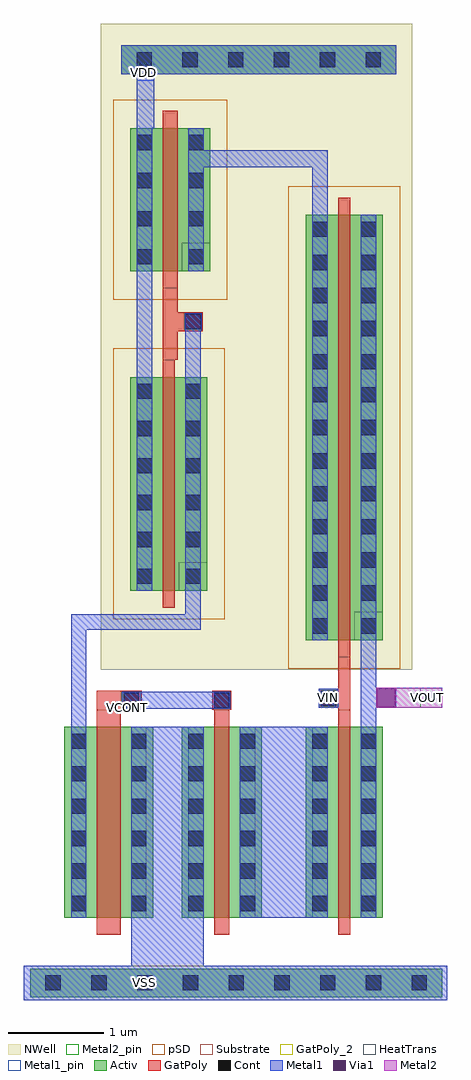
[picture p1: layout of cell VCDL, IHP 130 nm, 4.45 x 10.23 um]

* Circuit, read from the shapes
.subckt VCDL VCONT VDD VIN VOUT VSS
XM1 VSS VCONT n1 VSS sg13_lv_nmos w=2u l=0.25u
XM2 n2 VCONT VSS VSS sg13_lv_nmos w=2u l=0.16u
XM3 VOUT VIN n2 VSS sg13_lv_nmos w=2u l=0.13u
XM4 n1 n1 VDD VDD sg13_lv_pmos w=2.24u l=0.13u
XM5 n3 n1 VDD VDD sg13_lv_pmos w=1.5u l=0.16u
XM6 VOUT VIN n3 VDD sg13_lv_pmos w=4.46u l=0.13u
.ends

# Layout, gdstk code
import gdstk
lib = gdstk.Library(unit=1e-6, precision=1e-09)
def R(c, l, rs):  # rectangles x0, y0, x1, y1
    for r in rs: c.add(gdstk.rectangle(r[:2], r[2:], *l))
def A(c, l, x, y, w, h, nx, ny, dx, dy):  # array of equal rectangles
    R(c, l, [(x+i*dx, y+j*dy, x+i*dx+w, y+j*dy+h) for i in range(nx) for j in range(ny)])
def P(c, l, *ps):  # polygons
    for p in ps: c.add(gdstk.Polygon(p, *l))
Activ = (1, 0)
GatPoly = (5, 0)
GatPoly_2 = (5, 2)
Cont = (6, 0)
Metal1 = (8, 0)
Metal1_pin = (8, 2)
Metal2 = (10, 0)
Metal2_pin = (10, 2)
pSD = (14, 0)
Via1 = (19, 0)
NWell = (31, 0)
Substrate = (40, 0)
HeatTrans = (51, 0)

nmos = lib.new_cell('nmos')
R(nmos, Activ, [(0,0,0.3,0.3), (0,0,0.84,2), (0.54,0,0.84,0.3)])
R(nmos, GatPoly, [(0.34,-0.18,0.5,2.18)])
R(nmos, GatPoly_2, [(0.34,-0.18,0.5,2.18)])
A(nmos, Cont, 0.07, 0.07, 0.16, 0.16, 1, 6, 0, 0.34)
A(nmos, Cont, 0.61, 0.07, 0.16, 0.16, 1, 6, 0, 0.34)
R(nmos, Metal1, [(0.07,0,0.23,2), (0.61,0,0.77,2)])
R(nmos, Metal1_pin, [(0.07,0,0.23,2), (0.61,0,0.77,2)])
R(nmos, HeatTrans, [(0.34,-0.18,0.5,2.18)])
nmos.add(gdstk.Label('nmos', (0.42,1), layer=63, texttype=0))
nmos.add(gdstk.Label('nmos', (0.42,1), layer=51, texttype=0))

nmos_1 = lib.new_cell('nmos$1')
R(nmos_1, Activ, [(0,0,0.3,0.3), (0,0,0.93,2), (0.63,0,0.93,0.3)])
R(nmos_1, GatPoly, [(0.34,-0.18,0.59,2.18)])
R(nmos_1, GatPoly_2, [(0.34,-0.18,0.59,2.18)])
A(nmos_1, Cont, 0.07, 0.07, 0.16, 0.16, 1, 6, 0, 0.34)
A(nmos_1, Cont, 0.7, 0.07, 0.16, 0.16, 1, 6, 0, 0.34)
R(nmos_1, Metal1, [(0.07,0,0.23,2), (0.7,0,0.86,2)])
R(nmos_1, Metal1_pin, [(0.07,0,0.23,2), (0.7,0,0.86,2)])
R(nmos_1, HeatTrans, [(0.34,-0.18,0.59,2.18)])
nmos_1.add(gdstk.Label('nmos', (0.465,1), layer=63, texttype=0))
nmos_1.add(gdstk.Label('nmos', (0.465,1), layer=51, texttype=0))

pmos = lib.new_cell('pmos')
R(pmos, Activ, [(0,0,0.3,0.3), (0,0,0.81,2.24), (0.51,0,0.81,0.3)])
R(pmos, GatPoly, [(0.34,-0.18,0.47,2.42), (0.34,-0.18,0.47,2.42)])
A(pmos, Cont, 0.07, 1.23, 0.16, 0.16, 1, 3, 0, 0.39)
A(pmos, Cont, 0.58, 1.23, 0.16, 0.16, 1, 3, 0, 0.39)
R(pmos, Cont, [(0.07,0.07,0.23,0.23), (0.58,0.07,0.74,0.23), (0.07,0.455,0.23,0.615), (0.58,0.455,0.74,0.615), (0.07,0.845,0.23,1.005), (0.58,0.845,0.74,1.005)])
R(pmos, Metal1, [(0.07,0,0.23,2.24), (0.07,0,0.23,2.24), (0.58,0,0.74,2.24), (0.58,0,0.74,2.24)])
R(pmos, pSD, [(-0.18,-0.3,0.99,2.54)])
R(pmos, NWell, [(-0.31,-0.31,1.12,2.55)])
R(pmos, Substrate, [(0.51,0,0.81,0.3)])
R(pmos, HeatTrans, [(0.34,-0.18,0.47,2.42)])
pmos.add(gdstk.Label('pmos', (0.405,1.12), layer=63, texttype=0))
pmos.add(gdstk.Label('pmos', (0.405,1.12), layer=51, texttype=0))

pmos_1 = lib.new_cell('pmos$1')
R(pmos_1, Activ, [(0,0,0.3,0.3), (0,0,0.84,1.5), (0.54,0,0.84,0.3)])
R(pmos_1, GatPoly, [(0.34,-0.18,0.5,1.68), (0.34,-0.18,0.5,1.68)])
A(pmos_1, Cont, 0.07, 0.07, 0.16, 0.16, 1, 4, 0, 0.4)
A(pmos_1, Cont, 0.61, 0.07, 0.16, 0.16, 1, 4, 0, 0.4)
R(pmos_1, Metal1, [(0.07,0,0.23,1.5), (0.07,0,0.23,1.5), (0.61,0,0.77,1.5), (0.61,0,0.77,1.5)])
R(pmos_1, pSD, [(-0.18,-0.3,1.02,1.8)])
R(pmos_1, NWell, [(-0.31,-0.31,1.15,1.81)])
R(pmos_1, Substrate, [(0.54,0,0.84,0.3)])
R(pmos_1, HeatTrans, [(0.34,-0.18,0.5,1.68)])
pmos_1.add(gdstk.Label('pmos', (0.42,0.75), layer=63, texttype=0))
pmos_1.add(gdstk.Label('pmos', (0.42,0.75), layer=51, texttype=0))

pmos_2 = lib.new_cell('pmos$2')
R(pmos_2, Activ, [(0,0,0.3,0.3), (0,0,0.81,4.46), (0.51,0,0.81,0.3)])
R(pmos_2, GatPoly, [(0.34,-0.18,0.47,4.64), (0.34,-0.18,0.47,4.64)])
A(pmos_2, Cont, 0.07, 0.07, 0.16, 0.16, 1, 3, 0, 0.345)
A(pmos_2, Cont, 0.58, 0.07, 0.16, 0.16, 1, 3, 0, 0.345)
A(pmos_2, Cont, 0.07, 1.11, 0.16, 0.16, 1, 3, 0, 0.345)
A(pmos_2, Cont, 0.58, 1.11, 0.16, 0.16, 1, 3, 0, 0.345)
A(pmos_2, Cont, 0.07, 2.15, 0.16, 0.16, 1, 3, 0, 0.345)
A(pmos_2, Cont, 0.58, 2.15, 0.16, 0.16, 1, 3, 0, 0.345)
A(pmos_2, Cont, 0.07, 3.19, 0.16, 0.16, 1, 3, 0, 0.345)
A(pmos_2, Cont, 0.58, 3.19, 0.16, 0.16, 1, 3, 0, 0.345)
R(pmos_2, Cont, [(0.07,4.23,0.23,4.39), (0.58,4.23,0.74,4.39)])
R(pmos_2, Metal1, [(0.07,0,0.23,4.46), (0.07,0,0.23,4.46), (0.58,0,0.74,4.46), (0.58,0,0.74,4.46)])
R(pmos_2, pSD, [(-0.18,-0.3,0.99,4.76)])
R(pmos_2, NWell, [(-0.31,-0.31,1.12,4.77)])
R(pmos_2, Substrate, [(0.51,0,0.81,0.3)])
R(pmos_2, HeatTrans, [(0.34,-0.18,0.47,4.64)])
pmos_2.add(gdstk.Label('pmos', (0.405,2.23), layer=63, texttype=0))
pmos_2.add(gdstk.Label('pmos', (0.405,2.23), layer=51, texttype=0))

nmos_2 = lib.new_cell('nmos$2')
R(nmos_2, Activ, [(0,0,0.3,0.3), (0,0,0.81,2), (0.51,0,0.81,0.3)])
R(nmos_2, GatPoly, [(0.34,-0.18,0.47,2.18)])
R(nmos_2, GatPoly_2, [(0.34,-0.18,0.47,2.18)])
A(nmos_2, Cont, 0.07, 0.07, 0.16, 0.16, 1, 6, 0, 0.34)
A(nmos_2, Cont, 0.58, 0.07, 0.16, 0.16, 1, 6, 0, 0.34)
R(nmos_2, Metal1, [(0.07,0,0.23,2), (0.58,0,0.74,2)])
R(nmos_2, Metal1_pin, [(0.07,0,0.23,2), (0.58,0,0.74,2)])
R(nmos_2, HeatTrans, [(0.34,-0.18,0.47,2.18)])
nmos_2.add(gdstk.Label('nmos', (0.405,1), layer=63, texttype=0))
nmos_2.add(gdstk.Label('nmos', (0.405,1), layer=51, texttype=0))

vcdl = lib.new_cell('VCDL')
A(vcdl, Activ, 7.165, 8.22, 1.44, 0.3, 3, 1, 1.44, 0)
R(vcdl, Activ, [(8.12,17.9,9.561,18.2), (9.561,17.9,11.001,18.2)])
R(vcdl, GatPoly, [(7.863,11.233,8.113,11.433), (8.113,11.233,8.333,11.433), (9.073,11.233,9.273,11.433), (10.393,11.233,10.523,11.783), (10.193,11.253,10.393,11.453), (8.553,14.903,8.713,15.653), (8.713,15.203,8.773,15.403), (8.773,15.203,8.973,15.403)])
R(vcdl, GatPoly_2, [(8.113,11.233,8.333,11.433), (9.073,11.233,9.273,11.433), (10.193,11.253,10.393,11.453), (8.773,15.203,8.973,15.403)])
R(vcdl, Cont, [(7.325,8.29,7.485,8.45), (7.325,8.29,7.485,8.45), (7.805,8.29,7.965,8.45), (7.805,8.29,7.965,8.45), (8.285,8.29,8.445,8.45), (8.285,8.29,8.445,8.45), (8.765,8.29,8.925,8.45), (8.765,8.29,8.925,8.45), (9.245,8.29,9.405,8.45), (9.245,8.29,9.405,8.45), (9.725,8.29,9.885,8.45), (9.725,8.29,9.885,8.45), (10.205,8.29,10.365,8.45), (10.205,8.29,10.365,8.45), (10.685,8.29,10.845,8.45), (10.685,8.29,10.845,8.45), (11.165,8.29,11.325,8.45), (11.165,8.29,11.325,8.45), (8.143,11.253,8.303,11.413), (9.093,11.253,9.253,11.413), (10.213,11.273,10.373,11.433), (8.793,15.223,8.953,15.383), (8.28,17.97,8.44,18.13), (8.28,17.97,8.44,18.13), (8.76,17.97,8.92,18.13), (8.76,17.97,8.92,18.13), (9.24,17.97,9.401,18.13), (9.24,17.97,9.401,18.13), (9.721,17.97,9.881,18.13), (9.721,17.97,9.881,18.13), (10.201,17.97,10.361,18.13), (10.201,17.97,10.361,18.13), (10.681,17.97,10.841,18.13), (10.681,17.97,10.841,18.13)])
R(vcdl, Metal1, [(7.095,8.19,11.54,8.55), (8.223,8.22,8.985,11.053), (9.523,9.053,10.123,11.053), (7.593,11.053,7.753,12.073), (10.633,11.053,10.793,11.963), (8.123,11.243,8.323,11.423), (8.123,11.243,9.263,11.423), (10.193,11.253,10.393,11.453), (10.793,11.253,11.003,11.463), (7.593,12.073,8.793,12.233), (8.793,12.073,8.953,12.483), (8.283,14.723,8.443,15.833), (8.793,14.723,8.953,15.213), (8.783,15.213,8.963,15.393), (10.123,16.423,10.283,17.103), (8.983,16.923,10.123,17.103), (8.283,17.333,8.463,18.173), (8.12,17.9,11.001,18.2)])
P(vcdl, Metal1, [(10.343,11.333),(10.343,11.333),(10.343,11.333),(10.343,11.333)])
R(vcdl, Metal1_pin, [(8.3,8.305,8.43,8.435), (8.123,11.243,8.323,11.423), (10.793,11.253,11.003,11.463), (10.225,11.295,10.355,11.425), (8.283,17.828,8.463,18.008)])
R(vcdl, Metal2, [(10.793,11.253,11.483,11.463)])
R(vcdl, Metal2_pin, [(11.253,11.253,11.483,11.463)])
R(vcdl, pSD, [(7.095,8.19,8.675,8.55), (8.535,8.19,11.54,8.55)])
R(vcdl, Via1, [(10.803,11.263,10.993,11.453)])
R(vcdl, NWell, [(7.903,11.653,9.743,12.173), (9.333,12.173,9.743,15.033), (7.903,15.033,9.743,15.523), (9.363,15.523,9.743,16.733), (9.363,16.733,11.173,18.283), (7.903,17.643,9.363,18.283), (7.903,17.645,11.173,18.425)])
vcdl.add(gdstk.Reference(nmos, (8.753,9.053)))
vcdl.add(gdstk.Reference(nmos_1, (7.523,9.053)))
vcdl.add(gdstk.Reference(pmos, (8.213,12.483)))
vcdl.add(gdstk.Reference(pmos_1, (8.213,15.833)))
vcdl.add(gdstk.Reference(pmos_2, (10.053,11.963)))
vcdl.add(gdstk.Reference(nmos_2, (10.053,9.053)))
vcdl.add(gdstk.Label('VCONT', (8.183,11.253), layer=8, texttype=2))
vcdl.add(gdstk.Label('VDD', (8.354,17.914), layer=8, texttype=2))
vcdl.add(gdstk.Label('VIN', (10.29,11.36), layer=8, texttype=25))
vcdl.add(gdstk.Label('VSS', (8.365,8.37), layer=8, texttype=25))
vcdl.add(gdstk.Label('VOUT', (11.333,11.363), layer=10, texttype=2))

lib.write_gds('VCDL.gds')
